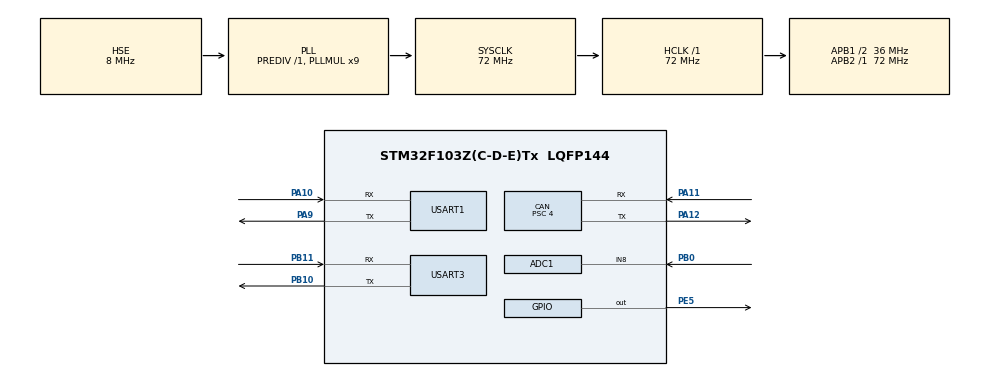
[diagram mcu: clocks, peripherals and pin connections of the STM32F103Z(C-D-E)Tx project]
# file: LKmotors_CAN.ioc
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ADC1.Channel-0\#ChannelRegularConversion=ADC_CHANNEL_8
ADC1.ContinuousConvMode=ENABLE
ADC1.NbrOfConversionFlag=1
ADC1.Rank-0\#ChannelRegularConversion=1
ADC1.SamplingTime-0\#ChannelRegularConversion=ADC_SAMPLETIME_1CYCLE_5
ADC1.master=1
CAN.ABOM=ENABLE
CAN.AWUM=ENABLE
CAN.BS1=CAN_BS1_4TQ
CAN.BS2=CAN_BS2_4TQ
CAN.CalculateBaudRate=1000000
CAN.CalculateTimeBit=1000
CAN.CalculateTimeQuantum=111.11111111111111
CAN.Prescaler=4
Mcu.Family=STM32F1
Mcu.Name=STM32F103Z(C-D-E)Tx
Mcu.Package=LQFP144
NVIC.PriorityGroup=NVIC_PRIORITYGROUP_4
NVIC.TIM2_IRQn=true\:0\:0\:true\:false\:true\:true\:true\:true
NVIC.TIM3_IRQn=true\:1\:0\:true\:false\:true\:true\:true\:true
NVIC.TIM4_IRQn=true\:1\:0\:true\:false\:true\:true\:true\:true
NVIC.USART1_IRQn=true\:1\:0\:true\:false\:true\:true\:true\:true
NVIC.USART3_IRQn=true\:1\:0\:true\:false\:true\:true\:true\:true
NVIC.USB_LP_CAN1_RX0_IRQn=true\:1\:0\:true\:false\:true\:true\:true\:true
OSC_IN.Mode=HSE-External-Oscillator
OSC_IN.Signal=RCC_OSC_IN
OSC_OUT.Mode=HSE-External-Oscillator
OSC_OUT.Signal=RCC_OSC_OUT
PA10.Mode=Asynchronous
PA10.Signal=USART1_RX
PA11.Mode=CAN_Activate
PA11.Signal=CAN_RX
PA12.Mode=CAN_Activate
PA12.Signal=CAN_TX
PA13.Mode=Serial_Wire
PA13.Signal=SYS_JTMS-SWDIO
PA14.Mode=Serial_Wire
PA14.Signal=SYS_JTCK-SWCLK
PA9.Mode=Asynchronous
PA9.Signal=USART1_TX
PB0.Signal=ADCx_IN8
PB10.Mode=Asynchronous
PB10.Signal=USART3_TX
PB11.Mode=Asynchronous
PB11.Signal=USART3_RX
PC14-OSC32_IN.Mode=LSE-External-Oscillator
PC14-OSC32_IN.Signal=RCC_OSC32_IN
PC15-OSC32_OUT.Mode=LSE-External-Oscillator
PC15-OSC32_OUT.Signal=RCC_OSC32_OUT
PE5.PinState=GPIO_PIN_SET
PE5.Signal=GPIO_Output
ProjectManager.HeapSize=0x200
ProjectManager.StackSize=0x400
ProjectManager.TargetToolchain=MDK-ARM V5.32
RCC.ADCPresc=RCC_ADCPCLK2_DIV6
RCC.AHBFreq_Value=72000000
RCC.APB1CLKDivider=RCC_HCLK_DIV2
RCC.APB1Freq_Value=36000000
RCC.APB1TimFreq_Value=72000000
RCC.APB2Freq_Value=72000000
RCC.APB2TimFreq_Value=72000000
RCC.HCLKFreq_Value=72000000
RCC.PLLMUL=RCC_PLL_MUL9
RCC.PLLSourceVirtual=RCC_PLLSOURCE_HSE
RCC.SYSCLKFreq_VALUE=72000000
RCC.SYSCLKSource=RCC_SYSCLKSOURCE_PLLCLK
RCC.USBFreq_Value=72000000
SH.ADCx_IN8.0=ADC1_IN8,IN8
TIM2.AutoReloadPreload=TIM_AUTORELOAD_PRELOAD_ENABLE
TIM2.Period=499
TIM2.Prescaler=7199
TIM3.Prescaler=71
TIM4.AutoReloadPreload=TIM_AUTORELOAD_PRELOAD_DISABLE
TIM4.Period=499
TIM4.Prescaler=7199
USART1.VirtualMode=VM_ASYNC
USART3.VirtualMode=VM_ASYNC
VP_TIM2_VS_ClockSourceINT.Mode=Internal
VP_TIM3_VS_ClockSourceINT.Mode=Internal
VP_TIM4_VS_ClockSourceINT.Mode=Internal
board=custom

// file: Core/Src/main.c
/* USER CODE BEGIN Header */
/**
  ******************************************************************************
  * @file           : main.c
  * @brief          : Main program body
  ******************************************************************************
  * @attention
  *
  * Copyright (c) 2022 STMicroelectronics.
  * All rights reserved.
  *
  * This software is licensed under terms that can be found in the LICENSE file
  * in the root directory of this software component.
  * If no LICENSE file comes with this software, it is provided AS-IS.
  *
  ******************************************************************************
  */
/* USER CODE END Header */
#include "main.h"
#include "adc.h"
#include "can.h"
#include "tim.h"
#include "usart.h"
#include "gpio.h"

/* USER CODE BEGIN Includes */
#include "lkmoto.h"
#include "can.h"
#include "usart.h"
#include "gpio.h"
#include "stdio.h"
#include "ids830can.h"
#include "Sensors_reading.h"
#include "fourier_series_traj_exciting.h"
#include "esp8266.h"

/* USER CODE END Includes */

void SystemClock_Config(void);

int main(void)
{

  /* MCU Configuration--------------------------------------------------------*/

  /* Reset of all peripherals, Initializes the Flash interface and the Systick. */
  HAL_Init();

  /* Configure the system clock */
  SystemClock_Config();

  /* Initialize all configured peripherals */
  MX_GPIO_Init();
  MX_CAN_Init();
  MX_USART1_UART_Init();
  MX_ADC1_Init();
  MX_TIM2_Init();
  MX_TIM3_Init();
  MX_USART3_UART_Init();
  MX_TIM4_Init();
  /* USER CODE BEGIN 2 */

	//WIFI模块初始化
	HAL_UART_Receive_IT(&huart3, &temp_rx, 1);
	HAL_TIM_Base_Start_IT(&htim4);

	if(esp8266_client_config())
	{
		printf("WIFI模块客户端配置失败！\r\n");
	}

//	CAN_Filter_Init();
//	traj_exciting_init();
//
////运行电机motor1~motor5
// 	for(int i=2;i<=6;i++)
// 	{
// 		motor_run(i);
// 	}

#ifdef SET_ZERO_POSITION
//写入当前位置到ROM作为零点(多次写入会影响芯片寿命，不建议频繁使用)
 	HAL_Delay(1000);
 	for(int i=1;i<=6;i++)
 	{
 		write_current_position_to_rom(i);
 		HAL_Delay(500);
 	}
	printf("zero point set successfully!");
#endif

////外骨骼初始位置
//  ske_base_position();

////先读取一次各关节数据
//	for(int i=1; i<=6; i++)
//	{
//		if(i == 1)
//		{
//			LinearActuator_read_position(i);
//			LinearActuator_read_CurrentandSpeed(i);
//			pressure_SensorReading();
//		}
//		else
//			read_status2(i);
//			read_angle(i);
//	}
//
////开启定时器中断：每隔0.05s发送一次控制命令
//	HAL_TIM_Base_Start_IT(&htim2);
//  printf("start!!!\n");
  /* USER CODE END 2 */

  /* Infinite loop */
  /* USER CODE BEGIN WHILE */

  while (1)
  {
//		esp8266_Connect_IOTServer();
//		for(int i=1; i<=6; i++)
//		{
//			if(i == 1)
//			{
//				LinearActuator_read_position(i);
//				LinearActuator_read_CurrentandSpeed(i);
//				pressure_SensorReading();
//			}
//			else
//				read_status2(i);
//			  read_angle(i);
//		}
//		if(motor_control_k > 400)
//		{
//			break;
//		}

    /* USER CODE END WHILE */

    /* USER CODE BEGIN 3 */

  }
//	HAL_Delay(500);

//	for(int i=1; i<=6; i++)
//	{
//		if(i == 1)
//			LinearActuator_startRun_maxspeed_position(i, 0, 30);
//
//		else if(i == 4)
//			angle_close_loop_with_speed(i, 0, 30);
//		else if(i == 5)
//			angle_close_loop_with_speed(i, 0, 30);
//		else if(i == 6)
//			angle_close_loop_with_speed(i, 0, 30);
//
//		else
//			angle_close_loop_with_speed(i, 0, 30);
//	}
//	for(int count=1; count<40; count++)
//	{
//		for(int i=1; i<=6; i++)
//		{
//			if(i == 1)
//			{
//				LinearActuator_read_position(i);
//				LinearActuator_read_CurrentandSpeed(i);
//				pressure_SensorReading();
//			}
//			else
//				read_status2(i);
//			  read_angle(i);
//		}
//		HAL_Delay(100);
//	}

//	printf("exciting traj experiment end!!!\n");

  /* USER CODE END 3 */
}

void SystemClock_Config(void)
{
  RCC_OscInitTypeDef RCC_OscInitStruct = {0};
  RCC_ClkInitTypeDef RCC_ClkInitStruct = {0};
  RCC_PeriphCLKInitTypeDef PeriphClkInit = {0};

  /** Initializes the RCC Oscillators according to the specified parameters
  * in the RCC_OscInitTypeDef structure.
  */
  RCC_OscInitStruct.OscillatorType = RCC_OSCILLATORTYPE_HSE;
  RCC_OscInitStruct.HSEState = RCC_HSE_ON;
  RCC_OscInitStruct.HSEPredivValue = RCC_HSE_PREDIV_DIV1;
  RCC_OscInitStruct.HSIState = RCC_HSI_ON;
  RCC_OscInitStruct.PLL.PLLState = RCC_PLL_ON;
  RCC_OscInitStruct.PLL.PLLSource = RCC_PLLSOURCE_HSE;
  RCC_OscInitStruct.PLL.PLLMUL = RCC_PLL_MUL9;
  if (HAL_RCC_OscConfig(&RCC_OscInitStruct) != HAL_OK)
  {
    Error_Handler();
  }

  /** Initializes the CPU, AHB and APB buses clocks
  */
  RCC_ClkInitStruct.ClockType = RCC_CLOCKTYPE_HCLK|RCC_CLOCKTYPE_SYSCLK
                              |RCC_CLOCKTYPE_PCLK1|RCC_CLOCKTYPE_PCLK2;
  RCC_ClkInitStruct.SYSCLKSource = RCC_SYSCLKSOURCE_PLLCLK;
  RCC_ClkInitStruct.AHBCLKDivider = RCC_SYSCLK_DIV1;
  RCC_ClkInitStruct.APB1CLKDivider = RCC_HCLK_DIV2;
  RCC_ClkInitStruct.APB2CLKDivider = RCC_HCLK_DIV1;

  if (HAL_RCC_ClockConfig(&RCC_ClkInitStruct, FLASH_LATENCY_2) != HAL_OK)
  {
    Error_Handler();
  }
  PeriphClkInit.PeriphClockSelection = RCC_PERIPHCLK_ADC;
  PeriphClkInit.AdcClockSelection = RCC_ADCPCLK2_DIV6;
  if (HAL_RCCEx_PeriphCLKConfig(&PeriphClkInit) != HAL_OK)
  {
    Error_Handler();
  }
}

void Error_Handler(void)
{
  __disable_irq();
  while (1)
  {
  }
}
